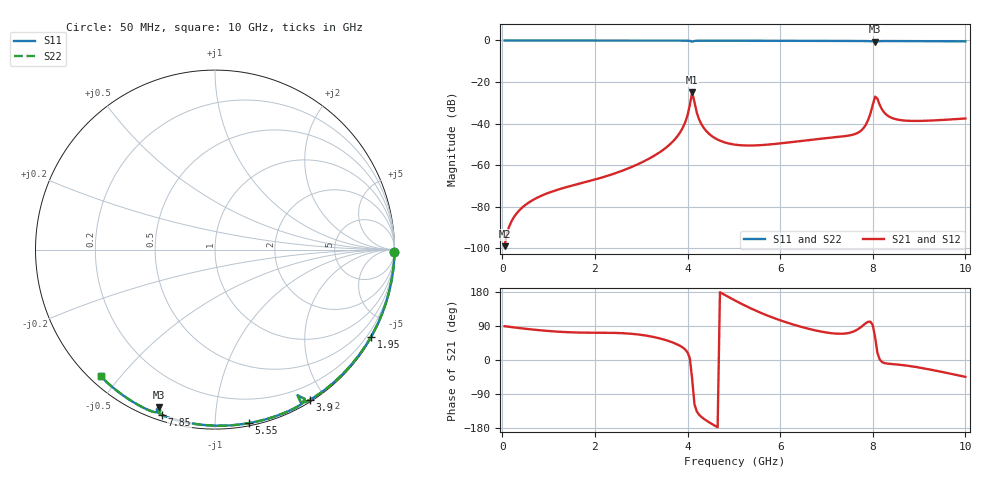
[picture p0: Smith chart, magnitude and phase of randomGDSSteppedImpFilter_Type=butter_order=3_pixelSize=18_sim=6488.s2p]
! freq	dB(S11)	phase(S11)	dB(S12)	phase(S12)
!  dB(S21)	phase(S21)	dB(S22)	phase(S22)
!S-par simulation data
#  GHz  S  DB  R 50
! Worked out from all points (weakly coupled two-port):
!   200 points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, 50 MHz to 10 GHz, reference 50 ohm
!   highest |S21| = -24.93 dB at 4.1 GHz (marker M1); lowest = -99.0 dB at 50 MHz (marker M2)
!   lowest |S11| = -0.6 dB at 8.05 GHz (marker M3), VSWR 27.52, Z = 2.72 - j35.2 ohm
!   |S11| at or under -10 dB: nowhere
!   |S22| runs from -0.6 to 0.0 dB; largest |S21 - S12| = 0
!   S11 on the Smith chart (normalised r, x): 50 MHz: open; 1.95 GHz: 0.03, -3.82; 3.9 GHz: 0.02, -1.82; 5.55 GHz: 0.02, -1.21; 7.85 GHz: 0.03, -0.73; 10 GHz: 0.03, -0.44
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0.05  -0.00 -0.8  -98.97 89.2  -98.97 89.2  -0.00 -0.8
0.45  -0.01 -6.9  -80.00 83.1  -80.00 83.1  -0.01 -6.9
0.95  -0.02 -14.4  -73.72 77.0  -73.72 77.0  -0.02 -14.4
1.75  -0.03 -26.4  -68.39 72.2  -68.39 72.2  -0.03 -26.4
1.95  -0.04 -29.3  -67.20 72.0  -67.20 72.0  -0.04 -29.3
3.4  -0.07 -50.3  -53.79 57.0  -53.79 57.0  -0.07 -50.3
3.7  -0.08 -54.6  -48.21 45.3  -48.21 45.3  -0.08 -54.6
3.9  -0.09 -57.6  -41.84 32.7  -41.84 32.7  -0.09 -57.6
4  -0.12 -59.4  -35.99 20.0  -35.99 20.0  -0.12 -59.4
4.1  -0.60 -60.4  -24.93 -50.7  -24.93 -50.7  -0.60 -60.4
4.25  -0.11 -61.2  -38.00 -144.4  -38.00 -144.4  -0.11 -61.2
4.4  -0.10 -63.6  -43.47 -159.3  -43.47 -159.3  -0.10 -63.6
4.65  -0.10 -67.1  -47.70 -177.7  -47.70 -177.7  -0.10 -67.1
5.05  -0.11 -72.5  -50.20 155.4  -50.20 155.4  -0.11 -72.5
5.55  -0.13 -79.0  -50.40 126.2  -50.40 126.2  -0.13 -79.0
6.7  -0.18 -93.6  -47.73 79.8  -47.73 79.8  -0.18 -93.6
7.6  -0.25 -104.6  -45.14 76.0  -45.14 76.0  -0.25 -104.6
7.85  -0.29 -107.9  -40.54 97.3  -40.54 97.3  -0.29 -107.8
8.05  -0.63 -109.5  -27.02 60.4  -27.02 60.4  -0.63 -109.5
8.35  -0.28 -112.7  -36.58 -10.0  -36.58 -10.0  -0.28 -112.7
8.85  -0.32 -118.8  -38.71 -16.9  -38.71 -16.9  -0.32 -118.8
10  -0.44 -132.0  -37.54 -44.6  -37.54 -44.6  -0.44 -132.0
